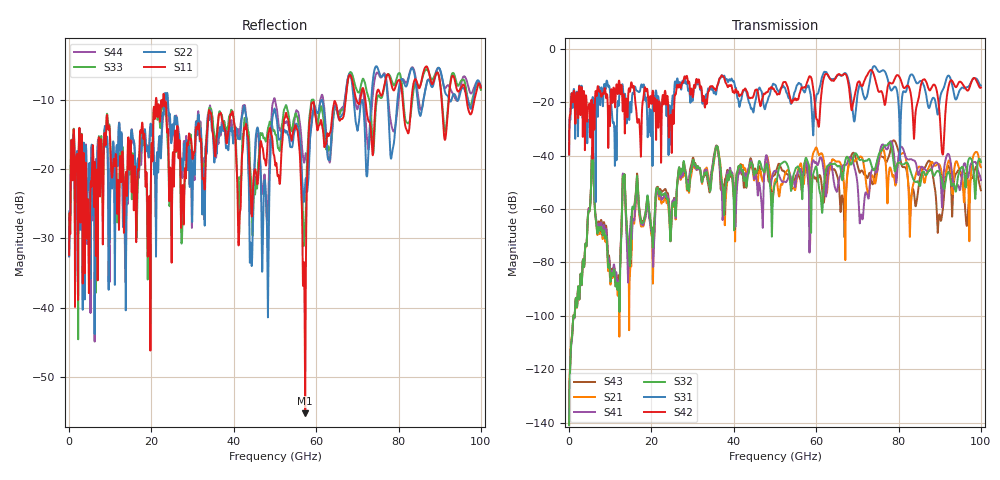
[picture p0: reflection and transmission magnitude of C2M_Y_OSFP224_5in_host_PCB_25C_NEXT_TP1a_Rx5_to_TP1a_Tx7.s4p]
# GHz S RI R 45
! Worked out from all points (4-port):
!   4000 points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, 25 MHz to 100 GHz, reference 45 ohm
!   strongest paths, dB at 25 MHz, 25.02 GHz, 50.02 GHz, 75.03 GHz, 100 GHz:
!     S42: -39.6, -29.2, -16.0, -15.6, -14.6
!     S31: -39.6, -20.1, -13.4, -8.3, -13.8
!     S32: -141.0, -59.2, -50.4, -40.5, -42.5
!     S41: -137.0, -59.0, -45.8, -44.0, -49.2
!     S21: -140.7, -59.3, -49.2, -44.0, -44.3
!     S43: -133.1, -58.7, -47.1, -41.1, -53.0
!   lowest |S11| = -55.2 dB at 57.35 GHz (marker M1), VSWR 1.00, Z = 44.9 - j0.148 ohm
!   |S11| at or under -10 dB: start of sweep to 21.09 GHz; 23.12 GHz to 67.17 GHz (44.06 GHz wide, 97.6 % of centre); 71.95 GHz to 74.51 GHz (2.558 GHz wide, 3.49 % of centre) (the widest 3 of 8)
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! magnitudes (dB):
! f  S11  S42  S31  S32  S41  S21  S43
! 25 MHz  -32.3  -39.6  -39.6  -141.0  -137.0  -140.7  -133.1
! 5.7 GHz  -17.2  -41.3  -18.4  -38.6  -38.5  -38.6  -38.4
! 11.93 GHz  -21.6  -15.5  -20.0  -88.3  -87.3  -90.7  -85.2
! 13.3 GHz  -28.4  -17.2  -19.1  -49.4  -49.1  -49.3  -49.2
! 14.7 GHz  -19.9  -15.6  -23.5  -80.6  -70.4  -87.4  -71.4
! 57.35 GHz  -55.2  -14.6  -15.9  -41.5  -42.8  -44.5  -42.2
! 100 GHz  -8.3  -14.6  -13.8  -42.5  -49.2  -44.3  -53.0
